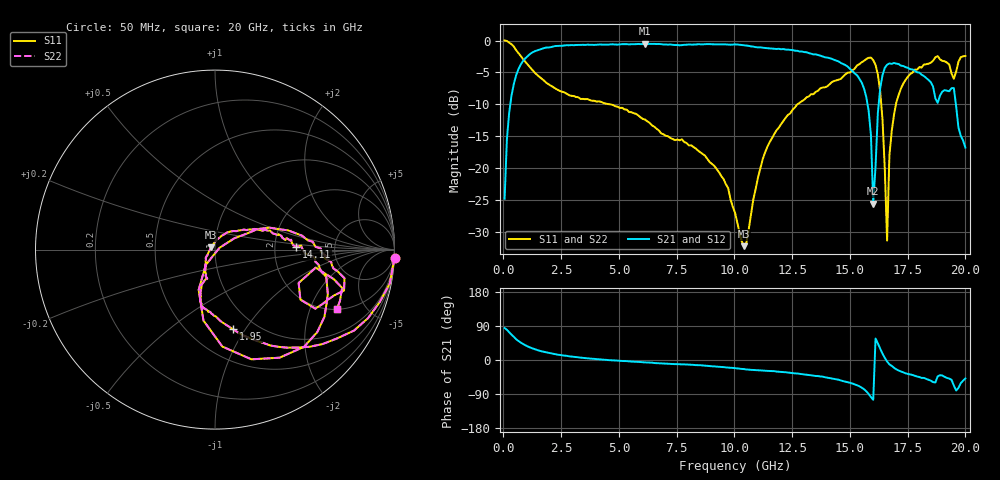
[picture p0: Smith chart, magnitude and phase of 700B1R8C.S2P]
!  American Technical Ceramics  Date:  3/13/98
!  One Norden Lane
!  Huntington Station,  NY.  11746-2102
!  Tel:  (516) 547-5700  Fax:  (516) 547-5748
!  Part Number  700B1R8C
!  Description: Porcelain, High Q, Low ESR
!  Application: Bypass, Coupling, Timing, Feedback
!  Tuning, Impedance Match, Blocking
# GHZ S DB R 50
! Freq  |S11|  S11 Ph  |S21|  S21 Ph  |S12|  S12 Ph  |S22|  S22 Ph
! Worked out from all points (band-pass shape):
!   201 points, 50 MHz to 20 GHz, reference 50 ohm
!   highest |S21| = -0.51 dB at 6.13 GHz (marker M1); lowest = -25.6 dB at 16.01 GHz (marker M2)
!   |S21| within 3 dB of the highest: 793.6 MHz to 14.6 GHz (13.81 GHz wide, 179 % of centre)
!   lowest |S11| = -32.3 dB at 10.42 GHz (marker M3), VSWR 1.05, Z = 47.9 + j1.14 ohm
!   |S11| at or under -10 dB: 4.58 GHz to 12.73 GHz (8.149 GHz wide, 94.2 % of centre); 16.36 GHz to 16.99 GHz (638.1 MHz wide, 3.83 % of centre)
!   |S22| runs from -32.3 to 0.0 dB; largest |S21 - S12| = 0
!   S11 on the Smith chart (normalised r, x): 50 MHz: -1, -44; 1.95 GHz: 0.79, -0.88; 14.11 GHz: 2.64, +0.10; 20 GHz: 2.00, -3.11
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0.05  0.01 -2.6  -24.83 84.4  -24.83 84.4  0.01 -2.6
0.25  -0.32 -17.6  -11.25 73.1  -11.25 73.1  -0.32 -17.6
0.55  -1.52 -36.2  -5.44 54.9  -5.44 54.9  -1.52 -36.2
1.95  -6.86 -77.3  -1.09 18.7  -1.09 18.7  -6.86 -77.3
3.44  -9.16 -95.8  -0.67 5.7  -0.67 5.7  -9.16 -95.8
6.13  -12.40 -109.5  -0.51 -6.4  -0.51 -6.4  -12.40 -109.5
6.73  -14.12 -109.8  -0.54 -8.8  -0.54 -8.8  -14.12 -109.8
10.03  -27.07 -152.0  -0.61 -21.6  -0.61 -21.6  -27.07 -152.0
10.42  -32.28 150.8  -0.73 -24.0  -0.73 -24.0  -32.28 150.8
11.42  -16.73 45.2  -1.20 -28.8  -1.20 -28.8  -16.73 45.2
13.42  -8.43 10.3  -2.18 -41.2  -2.18 -41.2  -8.43 10.3
14.11  -6.90 1.9  -2.76 -47.9  -2.76 -47.9  -6.90 1.9
15.61  -3.19 -26.3  -7.53 -77.0  -7.53 -77.0  -3.19 -26.3
15.91  -2.68 -47.5  -14.79 -97.7  -14.79 -97.7  -2.68 -47.5
16.01  -3.08 -59.2  -25.60 -105.1  -25.60 -105.1  -3.08 -59.2
16.41  -12.33 -112.1  -5.46 17.0  -5.46 17.0  -12.33 -112.1
16.61  -31.39 21.8  -3.80 -3.8  -3.80 -3.8  -31.39 21.8
16.71  -18.06 30.3  -3.59 -11.4  -3.59 -11.4  -18.06 30.3
17.51  -5.69 5.8  -4.28 -36.7  -4.28 -36.7  -5.69 5.8
18.8  -2.45 -17.6  -9.78 -43.1  -9.78 -43.1  -2.45 -17.6
19.5  -5.99 -21.8  -7.46 -67.5  -7.46 -67.5  -5.99 -21.8
20  -2.43 -26.1  -16.81 -48.8  -16.81 -48.8  -2.43 -26.1
